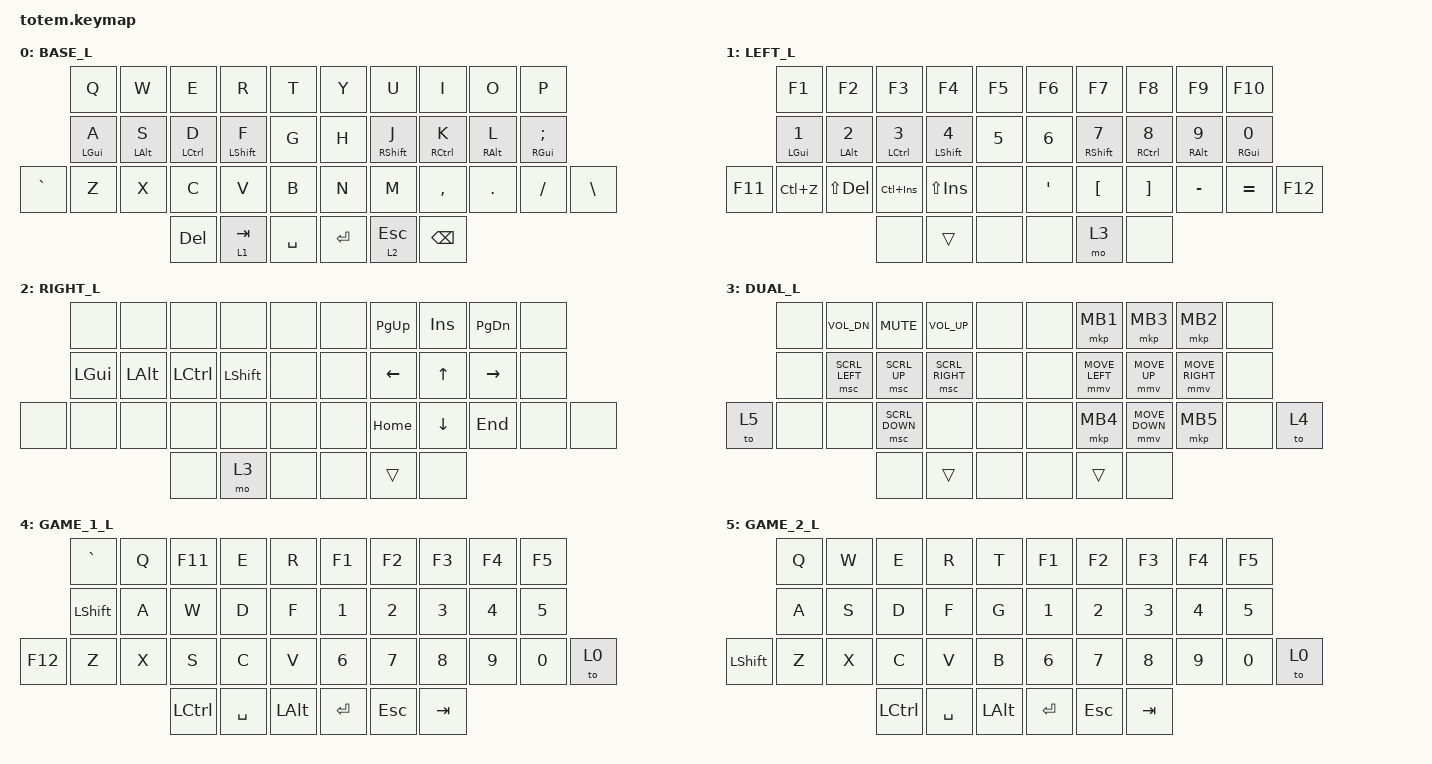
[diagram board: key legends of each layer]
#include <behaviors.dtsi>
#include <dt-bindings/zmk/keys.h>
#include <dt-bindings/zmk/pointing.h>

#define BASE_L  0
#define LEFT_L  1
#define RIGHT_L 2
#define DUAL_L  3
#define GAME_1_L  4
#define GAME_2_L  5

&mt {
    quick-tap-ms = <100>;
    global-quick-tap;
    flavor = "tap-preferred";
    tapping-term-ms = <170>;
};

/ {
    combos { compatible = "zmk,combos"; };

    keymap {
        compatible = "zmk,keymap";
        // ▄▄▄▄▄▄▄▄▄▄▄▄▄▄▄▄▄▄▄▄▄▄▄▄▄▄▄▄▄▄▄▄▄▄▄▄▄▄▄▄▄▄▄▄▄▄▄▄▄▄▄▄▄▄▄▄▄▄▄▄▄▄▄▄▄▄▄▄▄▄▄▄▄▄▄▄▄▄▄▄▄▄▄▄▄▄▄▄▄▄▄▄▄▄▄▄▄▄▄▄▄▄▄▄▄▄▄▄▄▄▄▄▄▄▄▄▄▄▄▄▄▄▄▄▄▄▄▄▄▄▄▄▄▄▄▄▄▄▄▄▄▄▄▄▄▄▄▄▄▄▄▄▄▄▄▄▄▄▄▄▄▄▄▄▄▄▄▄▄▄▄▄▄▄▄▄▄▄▄▄▄▄▄▄▄▄▄▄▄▄▄▄▄▄▄▄▄▄▄▄▄▄

        base_layer {
            //  ┏━━━━━━━━━━━━━━━┓
            label= "BASE_L"     ;
            //  ┗━━━━━━━━━━━━━━━┛
            bindings = <
            //                  ┏━━━━━━━━━━━━━━━┳━━━━━━━━━━━━━━━┳━━━━━━━━━━━━━━━┳━━━━━━━━━━━━━━━┳━━━━━━━━━━━━━━━┓   ┏━━━━━━━━━━━━━━━┳━━━━━━━━━━━━━━━┳━━━━━━━━━━━━━━━┳━━━━━━━━━━━━━━━┳━━━━━━━━━━━━━━━┓
                                &kp Q           &kp W           &kp E           &kp R           &kp T               &kp Y           &kp U           &kp I           &kp O           &kp P
            //                  ┣━━━━━━━━━━━━━━━╋━━━━━━━━━━━━━━━╋━━━━━━━━━━━━━━━╋━━━━━━━━━━━━━━━╋━━━━━━━━━━━━━━━┫   ┣━━━━━━━━━━━━━━━╋━━━━━━━━━━━━━━━╋━━━━━━━━━━━━━━━╋━━━━━━━━━━━━━━━╋━━━━━━━━━━━━━━━┫
                                &mt LGUI A      &mt LALT S      &mt LCTRL D     &mt LSHFT F     &kp G               &kp H           &mt RSHFT J     &mt RCTRL K     &mt RALT L      &mt RGUI SEMI   
            //  ┏━━━━━━━━━━━━━━━╋━━━━━━━━━━━━━━━╋━━━━━━━━━━━━━━━╋━━━━━━━━━━━━━━━╋━━━━━━━━━━━━━━━╋━━━━━━━━━━━━━━━┫   ┣━━━━━━━━━━━━━━━╋━━━━━━━━━━━━━━━╋━━━━━━━━━━━━━━━╋━━━━━━━━━━━━━━━╋━━━━━━━━━━━━━━━╋━━━━━━━━━━━━━━━┓
                &kp GRAVE       &kp Z           &kp X           &kp C           &kp V           &kp B               &kp N           &kp M           &kp COMMA       &kp DOT         &kp FSLH        &kp BSLH
            //  ┗━━━━━━━━━━━━━━━┻━━━━━━━━━━━━━━━┻━━━━━━━━━━━━━━━╋━━━━━━━━━━━━━━━╋━━━━━━━━━━━━━━━╋━━━━━━━━━━━━━━━┫   ┣━━━━━━━━━━━━━━━╋━━━━━━━━━━━━━━━╋━━━━━━━━━━━━━━━╋━━━━━━━━━━━━━━━┻━━━━━━━━━━━━━━━┻━━━━━━━━━━━━━━━┛
                                                                &kp DEL         &lt 1 TAB       &kp SPACE           &kp RET         &lt 2 ESC       &kp BSPC
            //                                                  ┗━━━━━━━━━━━━━━━┻━━━━━━━━━━━━━━━┻━━━━━━━━━━━━━━━┛   ┗━━━━━━━━━━━━━━━┻━━━━━━━━━━━━━━━┻━━━━━━━━━━━━━━━┛
            >;
        };

        // ▄▄▄▄▄▄▄▄▄▄▄▄▄▄▄▄▄▄▄▄▄▄▄▄▄▄▄▄▄▄▄▄▄▄▄▄▄▄▄▄▄▄▄▄▄▄▄▄▄▄▄▄▄▄▄▄▄▄▄▄▄▄▄▄▄▄▄▄▄▄▄▄▄▄▄▄▄▄▄▄▄▄▄▄▄▄▄▄▄▄▄▄▄▄▄▄▄▄▄▄▄▄▄▄▄▄▄▄▄▄▄▄▄▄▄▄▄▄▄▄▄▄▄▄▄▄▄▄▄▄▄▄▄▄▄▄▄▄▄▄▄▄▄▄▄▄▄▄▄▄▄▄▄▄▄▄▄▄▄▄▄▄▄▄▄▄▄▄▄▄▄▄▄▄▄▄▄▄▄▄▄▄▄▄▄▄▄▄▄▄▄▄▄▄▄▄▄▄▄▄▄▄

        left_layer {
            //  ┏━━━━━━━━━━━━━━━┓
            label= "LEFT_L"     ;
            //  ┗━━━━━━━━━━━━━━━┛
            bindings = <
            //                  ┏━━━━━━━━━━━━━━━┳━━━━━━━━━━━━━━━┳━━━━━━━━━━━━━━━┳━━━━━━━━━━━━━━━┳━━━━━━━━━━━━━━━┓   ┏━━━━━━━━━━━━━━━┳━━━━━━━━━━━━━━━┳━━━━━━━━━━━━━━━┳━━━━━━━━━━━━━━━┳━━━━━━━━━━━━━━━┓
                                &kp F1          &kp F2          &kp F3          &kp F4          &kp F5              &kp F6          &kp F7          &kp F8          &kp F9          &kp F10
            //                  ┣━━━━━━━━━━━━━━━╋━━━━━━━━━━━━━━━╋━━━━━━━━━━━━━━━╋━━━━━━━━━━━━━━━╋━━━━━━━━━━━━━━━┫   ┣━━━━━━━━━━━━━━━╋━━━━━━━━━━━━━━━╋━━━━━━━━━━━━━━━╋━━━━━━━━━━━━━━━╋━━━━━━━━━━━━━━━┫
                                &mt LGUI N1     &mt LALT N2     &mt LCTRL N3    &mt LSHFT N4    &kp N5              &kp N6          &mt RSHFT N7    &mt RCTRL N8    &mt RALT N9     &mt RGUI N0
            //  ┏━━━━━━━━━━━━━━━╋━━━━━━━━━━━━━━━╋━━━━━━━━━━━━━━━╋━━━━━━━━━━━━━━━╋━━━━━━━━━━━━━━━╋━━━━━━━━━━━━━━━┫   ┣━━━━━━━━━━━━━━━╋━━━━━━━━━━━━━━━╋━━━━━━━━━━━━━━━╋━━━━━━━━━━━━━━━╋━━━━━━━━━━━━━━━╋━━━━━━━━━━━━━━━┓
                &kp F11         &kp LC(Z)       &kp LS(DEL)     &kp LC(INS)     &kp LS(INS)     &none               &kp APOS        &kp LBKT        &kp RBKT        &kp MINUS       &kp EQUAL       &kp F12
            //  ┗━━━━━━━━━━━━━━━┻━━━━━━━━━━━━━━━┻━━━━━━━━━━━━━━━╋━━━━━━━━━━━━━━━╋━━━━━━━━━━━━━━━╋━━━━━━━━━━━━━━━┫   ┣━━━━━━━━━━━━━━━╋━━━━━━━━━━━━━━━╋━━━━━━━━━━━━━━━╋━━━━━━━━━━━━━━━┻━━━━━━━━━━━━━━━┻━━━━━━━━━━━━━━━┛
                                                                &none           &trans          &none               &none           &mo 3           &none
            //                                                  ┗━━━━━━━━━━━━━━━┻━━━━━━━━━━━━━━━┻━━━━━━━━━━━━━━━┛   ┗━━━━━━━━━━━━━━━┻━━━━━━━━━━━━━━━┻━━━━━━━━━━━━━━━┛
            >;
        };

        // ▄▄▄▄▄▄▄▄▄▄▄▄▄▄▄▄▄▄▄▄▄▄▄▄▄▄▄▄▄▄▄▄▄▄▄▄▄▄▄▄▄▄▄▄▄▄▄▄▄▄▄▄▄▄▄▄▄▄▄▄▄▄▄▄▄▄▄▄▄▄▄▄▄▄▄▄▄▄▄▄▄▄▄▄▄▄▄▄▄▄▄▄▄▄▄▄▄▄▄▄▄▄▄▄▄▄▄▄▄▄▄▄▄▄▄▄▄▄▄▄▄▄▄▄▄▄▄▄▄▄▄▄▄▄▄▄▄▄▄▄▄▄▄▄▄▄▄▄▄▄▄▄▄▄▄▄▄▄▄▄▄▄▄▄▄▄▄▄▄▄▄▄▄▄▄▄▄▄▄▄▄▄▄▄▄▄▄▄▄▄▄▄▄▄▄▄▄▄▄▄▄▄

        right_layer {
            //  ┏━━━━━━━━━━━━━━━┓
            label= "RIGHT_L"    ;
            //  ┗━━━━━━━━━━━━━━━┛
            bindings = <
            //                  ┏━━━━━━━━━━━━━━━┳━━━━━━━━━━━━━━━┳━━━━━━━━━━━━━━━┳━━━━━━━━━━━━━━━┳━━━━━━━━━━━━━━━┓   ┏━━━━━━━━━━━━━━━┳━━━━━━━━━━━━━━━┳━━━━━━━━━━━━━━━┳━━━━━━━━━━━━━━━┳━━━━━━━━━━━━━━━┓
                                &none           &none           &none           &none           &none               &none           &kp PG_UP       &kp INS         &kp PG_DN       &none
            //                  ┣━━━━━━━━━━━━━━━╋━━━━━━━━━━━━━━━╋━━━━━━━━━━━━━━━╋━━━━━━━━━━━━━━━╋━━━━━━━━━━━━━━━┫   ┣━━━━━━━━━━━━━━━╋━━━━━━━━━━━━━━━╋━━━━━━━━━━━━━━━╋━━━━━━━━━━━━━━━╋━━━━━━━━━━━━━━━┫
                                &kp LGUI        &kp LALT        &kp LCTRL       &kp LSHFT       &none               &none           &kp LEFT        &kp UP          &kp RIGHT       &none
            //  ┏━━━━━━━━━━━━━━━╋━━━━━━━━━━━━━━━╋━━━━━━━━━━━━━━━╋━━━━━━━━━━━━━━━╋━━━━━━━━━━━━━━━╋━━━━━━━━━━━━━━━┫   ┣━━━━━━━━━━━━━━━╋━━━━━━━━━━━━━━━╋━━━━━━━━━━━━━━━╋━━━━━━━━━━━━━━━╋━━━━━━━━━━━━━━━╋━━━━━━━━━━━━━━━┓
                &none           &none           &none           &none           &none           &none               &none           &kp HOME        &kp DOWN        &kp END         &none           &none
            //  ┗━━━━━━━━━━━━━━━┻━━━━━━━━━━━━━━━┻━━━━━━━━━━━━━━━╋━━━━━━━━━━━━━━━╋━━━━━━━━━━━━━━━╋━━━━━━━━━━━━━━━┫   ┣━━━━━━━━━━━━━━━╋━━━━━━━━━━━━━━━╋━━━━━━━━━━━━━━━╋━━━━━━━━━━━━━━━┻━━━━━━━━━━━━━━━┻━━━━━━━━━━━━━━━┛
                                                                &none           &mo 3           &none               &none           &trans          &none
            //                                                  ┗━━━━━━━━━━━━━━━┻━━━━━━━━━━━━━━━┻━━━━━━━━━━━━━━━┛   ┗━━━━━━━━━━━━━━━┻━━━━━━━━━━━━━━━┻━━━━━━━━━━━━━━━┛
            >;
        };

        // ▄▄▄▄▄▄▄▄▄▄▄▄▄▄▄▄▄▄▄▄▄▄▄▄▄▄▄▄▄▄▄▄▄▄▄▄▄▄▄▄▄▄▄▄▄▄▄▄▄▄▄▄▄▄▄▄▄▄▄▄▄▄▄▄▄▄▄▄▄▄▄▄▄▄▄▄▄▄▄▄▄▄▄▄▄▄▄▄▄▄▄▄▄▄▄▄▄▄▄▄▄▄▄▄▄▄▄▄▄▄▄▄▄▄▄▄▄▄▄▄▄▄▄▄▄▄▄▄▄▄▄▄▄▄▄▄▄▄▄▄▄▄▄▄▄▄▄▄▄▄▄▄▄▄▄▄▄▄▄▄▄▄▄▄▄▄▄▄▄▄▄▄▄▄▄▄▄▄▄▄▄▄▄▄▄▄▄▄▄▄▄▄▄▄▄▄▄▄▄▄▄▄

        dual_layer {
            // ┏━━━━━━━━━━━━━━━━┓
            label= "DUAL_L"     ;
            // ┗━━━━━━━━━━━━━━━━┛
            bindings = <
            //                  ┏━━━━━━━━━━━━━━━┳━━━━━━━━━━━━━━━┳━━━━━━━━━━━━━━━┳━━━━━━━━━━━━━━━┳━━━━━━━━━━━━━━━┓   ┏━━━━━━━━━━━━━━━┳━━━━━━━━━━━━━━━┳━━━━━━━━━━━━━━━┳━━━━━━━━━━━━━━━┳━━━━━━━━━━━━━━━┓
                                &none           &kp C_VOL_DN    &kp C_MUTE      &kp C_VOL_UP    &none               &none           &mkp MB1        &mkp MB3        &mkp MB2        &none
            //                  ┣━━━━━━━━━━━━━━━╋━━━━━━━━━━━━━━━╋━━━━━━━━━━━━━━━╋━━━━━━━━━━━━━━━╋━━━━━━━━━━━━━━━┫   ┣━━━━━━━━━━━━━━━╋━━━━━━━━━━━━━━━╋━━━━━━━━━━━━━━━╋━━━━━━━━━━━━━━━╋━━━━━━━━━━━━━━━┫
                                &none           &msc SCRL_LEFT  &msc SCRL_UP    &msc SCRL_RIGHT &none               &none           &mmv MOVE_LEFT  &mmv MOVE_UP    &mmv MOVE_RIGHT &none
            //  ┏━━━━━━━━━━━━━━━╋━━━━━━━━━━━━━━━╋━━━━━━━━━━━━━━━╋━━━━━━━━━━━━━━━╋━━━━━━━━━━━━━━━╋━━━━━━━━━━━━━━━┫   ┣━━━━━━━━━━━━━━━╋━━━━━━━━━━━━━━━╋━━━━━━━━━━━━━━━╋━━━━━━━━━━━━━━━╋━━━━━━━━━━━━━━━╋━━━━━━━━━━━━━━━┓
                &to 5           &none           &none           &msc SCRL_DOWN  &none           &none               &none           &mkp MB4        &mmv MOVE_DOWN  &mkp MB5        &none           &to 4
            //  ┗━━━━━━━━━━━━━━━┻━━━━━━━━━━━━━━━┻━━━━━━━━━━━━━━━╋━━━━━━━━━━━━━━━╋━━━━━━━━━━━━━━━╋━━━━━━━━━━━━━━━┫   ┣━━━━━━━━━━━━━━━╋━━━━━━━━━━━━━━━╋━━━━━━━━━━━━━━━╋━━━━━━━━━━━━━━━┻━━━━━━━━━━━━━━━┻━━━━━━━━━━━━━━━┛
                                                                &none           &trans          &none               &none           &trans          &none
            //                                                  ┗━━━━━━━━━━━━━━━┻━━━━━━━━━━━━━━━┻━━━━━━━━━━━━━━━┛   ┗━━━━━━━━━━━━━━━┻━━━━━━━━━━━━━━━┻━━━━━━━━━━━━━━━┛
            >;
        };

        // ▄▄▄▄▄▄▄▄▄▄▄▄▄▄▄▄▄▄▄▄▄▄▄▄▄▄▄▄▄▄▄▄▄▄▄▄▄▄▄▄▄▄▄▄▄▄▄▄▄▄▄▄▄▄▄▄▄▄▄▄▄▄▄▄▄▄▄▄▄▄▄▄▄▄▄▄▄▄▄▄▄▄▄▄▄▄▄▄▄▄▄▄▄▄▄▄▄▄▄▄▄▄▄▄▄▄▄▄▄▄▄▄▄▄▄▄▄▄▄▄▄▄▄▄▄▄▄▄▄▄▄▄▄▄▄▄▄▄▄▄▄▄▄▄▄▄▄▄▄▄▄▄▄▄▄▄▄▄▄▄▄▄▄▄▄▄▄▄▄▄▄▄▄▄▄▄▄▄▄▄▄▄▄▄▄▄▄▄▄▄▄▄▄▄▄▄▄▄▄▄▄▄

        game_1_layer {
            // ┏━━━━━━━━━━━━━━━━┓
            label= "GAME_1_L"   ;
            // ┗━━━━━━━━━━━━━━━━┛
            bindings = <
            //                  ┏━━━━━━━━━━━━━━━┳━━━━━━━━━━━━━━━┳━━━━━━━━━━━━━━━┳━━━━━━━━━━━━━━━┳━━━━━━━━━━━━━━━┓   ┏━━━━━━━━━━━━━━━┳━━━━━━━━━━━━━━━┳━━━━━━━━━━━━━━━┳━━━━━━━━━━━━━━━┳━━━━━━━━━━━━━━━┓
                                &kp GRAVE       &kp Q           &kp F11         &kp E           &kp R               &kp F1          &kp F2          &kp F3          &kp F4          &kp F5
            //                  ┣━━━━━━━━━━━━━━━╋━━━━━━━━━━━━━━━╋━━━━━━━━━━━━━━━╋━━━━━━━━━━━━━━━╋━━━━━━━━━━━━━━━┫   ┣━━━━━━━━━━━━━━━╋━━━━━━━━━━━━━━━╋━━━━━━━━━━━━━━━╋━━━━━━━━━━━━━━━╋━━━━━━━━━━━━━━━┫
                                &kp LSHFT       &kp A           &kp W           &kp D           &kp F               &kp N1          &kp N2          &kp N3          &kp N4          &kp N5
            //  ┏━━━━━━━━━━━━━━━╋━━━━━━━━━━━━━━━╋━━━━━━━━━━━━━━━╋━━━━━━━━━━━━━━━╋━━━━━━━━━━━━━━━╋━━━━━━━━━━━━━━━┫   ┣━━━━━━━━━━━━━━━╋━━━━━━━━━━━━━━━╋━━━━━━━━━━━━━━━╋━━━━━━━━━━━━━━━╋━━━━━━━━━━━━━━━╋━━━━━━━━━━━━━━━┓
                &kp F12         &kp Z           &kp X           &kp S           &kp C           &kp V               &kp N6          &kp N7          &kp N8          &kp N9          &kp N0          &to 0
            //  ┗━━━━━━━━━━━━━━━┻━━━━━━━━━━━━━━━┻━━━━━━━━━━━━━━━╋━━━━━━━━━━━━━━━╋━━━━━━━━━━━━━━━╋━━━━━━━━━━━━━━━┫   ┣━━━━━━━━━━━━━━━╋━━━━━━━━━━━━━━━╋━━━━━━━━━━━━━━━╋━━━━━━━━━━━━━━━┻━━━━━━━━━━━━━━━┻━━━━━━━━━━━━━━━┛
                                                                &kp LCTRL       &kp SPACE       &kp LALT            &kp RET         &kp ESC         &kp TAB
            //                                                  ┗━━━━━━━━━━━━━━━┻━━━━━━━━━━━━━━━┻━━━━━━━━━━━━━━━┛   ┗━━━━━━━━━━━━━━━┻━━━━━━━━━━━━━━━┻━━━━━━━━━━━━━━━┛
            >;
        };

        // ▄▄▄▄▄▄▄▄▄▄▄▄▄▄▄▄▄▄▄▄▄▄▄▄▄▄▄▄▄▄▄▄▄▄▄▄▄▄▄▄▄▄▄▄▄▄▄▄▄▄▄▄▄▄▄▄▄▄▄▄▄▄▄▄▄▄▄▄▄▄▄▄▄▄▄▄▄▄▄▄▄▄▄▄▄▄▄▄▄▄▄▄▄▄▄▄▄▄▄▄▄▄▄▄▄▄▄▄▄▄▄▄▄▄▄▄▄▄▄▄▄▄▄▄▄▄▄▄▄▄▄▄▄▄▄▄▄▄▄▄▄▄▄▄▄▄▄▄▄▄▄▄▄▄▄▄▄▄▄▄▄▄▄▄▄▄▄▄▄▄▄▄▄▄▄▄▄▄▄▄▄▄▄▄▄▄▄▄▄▄▄▄▄▄▄▄▄▄▄▄▄▄

        game_2_layer {
            // ┏━━━━━━━━━━━━━━━━┓
            label= "GAME_2_L"   ;
            // ┗━━━━━━━━━━━━━━━━┛
            bindings = <
            //                  ┏━━━━━━━━━━━━━━━┳━━━━━━━━━━━━━━━┳━━━━━━━━━━━━━━━┳━━━━━━━━━━━━━━━┳━━━━━━━━━━━━━━━┓   ┏━━━━━━━━━━━━━━━┳━━━━━━━━━━━━━━━┳━━━━━━━━━━━━━━━┳━━━━━━━━━━━━━━━┳━━━━━━━━━━━━━━━┓
                                &kp Q           &kp W           &kp E           &kp R           &kp T               &kp F1          &kp F2          &kp F3          &kp F4          &kp F5
            //                  ┣━━━━━━━━━━━━━━━╋━━━━━━━━━━━━━━━╋━━━━━━━━━━━━━━━╋━━━━━━━━━━━━━━━╋━━━━━━━━━━━━━━━┫   ┣━━━━━━━━━━━━━━━╋━━━━━━━━━━━━━━━╋━━━━━━━━━━━━━━━╋━━━━━━━━━━━━━━━╋━━━━━━━━━━━━━━━┫
                                &kp A           &kp S           &kp D           &kp F           &kp G               &kp N1          &kp N2          &kp N3          &kp N4          &kp N5
            //  ┏━━━━━━━━━━━━━━━╋━━━━━━━━━━━━━━━╋━━━━━━━━━━━━━━━╋━━━━━━━━━━━━━━━╋━━━━━━━━━━━━━━━╋━━━━━━━━━━━━━━━┫   ┣━━━━━━━━━━━━━━━╋━━━━━━━━━━━━━━━╋━━━━━━━━━━━━━━━╋━━━━━━━━━━━━━━━╋━━━━━━━━━━━━━━━╋━━━━━━━━━━━━━━━┓
                &kp LSHFT       &kp Z           &kp X           &kp C           &kp V           &kp B               &kp N6          &kp N7          &kp N8          &kp N9          &kp N0          &to 0
            //  ┗━━━━━━━━━━━━━━━┻━━━━━━━━━━━━━━━┻━━━━━━━━━━━━━━━╋━━━━━━━━━━━━━━━╋━━━━━━━━━━━━━━━╋━━━━━━━━━━━━━━━┫   ┣━━━━━━━━━━━━━━━╋━━━━━━━━━━━━━━━╋━━━━━━━━━━━━━━━╋━━━━━━━━━━━━━━━┻━━━━━━━━━━━━━━━┻━━━━━━━━━━━━━━━┛
                                                                &kp LCTRL       &kp SPACE       &kp LALT            &kp RET         &kp ESC         &kp TAB
            //                                                  ┗━━━━━━━━━━━━━━━┻━━━━━━━━━━━━━━━┻━━━━━━━━━━━━━━━┛   ┗━━━━━━━━━━━━━━━┻━━━━━━━━━━━━━━━┻━━━━━━━━━━━━━━━┛
            >;
        };

        // ▄▄▄▄▄▄▄▄▄▄▄▄▄▄▄▄▄▄▄▄▄▄▄▄▄▄▄▄▄▄▄▄▄▄▄▄▄▄▄▄▄▄▄▄▄▄▄▄▄▄▄▄▄▄▄▄▄▄▄▄▄▄▄▄▄▄▄▄▄▄▄▄▄▄▄▄▄▄▄▄▄▄▄▄▄▄▄▄▄▄▄▄▄▄▄▄▄▄▄▄▄▄▄▄▄▄▄▄▄▄▄▄▄▄▄▄▄▄▄▄▄▄▄▄▄▄▄▄▄▄▄▄▄▄▄▄▄▄▄▄▄▄▄▄▄▄▄▄▄▄▄▄▄▄▄▄▄▄▄▄▄▄▄▄▄▄▄▄▄▄▄▄▄▄▄▄▄▄▄▄▄▄▄▄▄▄▄▄▄▄▄▄▄▄▄▄▄▄▄▄▄▄
    };
};
